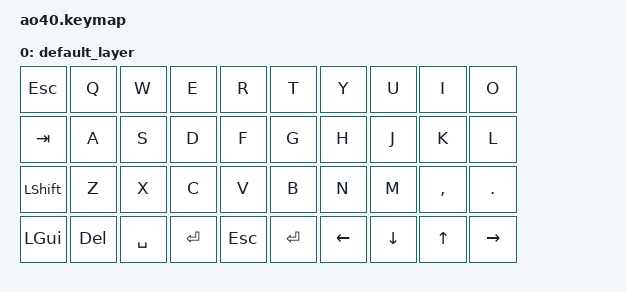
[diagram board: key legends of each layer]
#include <behaviors.dtsi>
#include <dt-bindings/zmk/keys.h>

/ {
    keymap {
        compatible = "zmk,keymap";

        default_layer {
            bindings = <
                &kp ESC    &kp Q    &kp W    &kp E     &kp R     &kp T     &kp Y     &kp U     &kp I     &kp O
                &kp TAB    &kp A    &kp S    &kp D     &kp F     &kp G     &kp H     &kp J     &kp K     &kp L
                &kp LSHIFT &kp Z    &kp X    &kp C     &kp V     &kp B     &kp N     &kp M     &kp COMMA &kp DOT
                &kp LGUI   &kp DEL  &kp SPACE &kp RET  &kp ESC   &kp RET   &kp LEFT  &kp DOWN  &kp UP    &kp RIGHT
            >;
        };
    };
};
